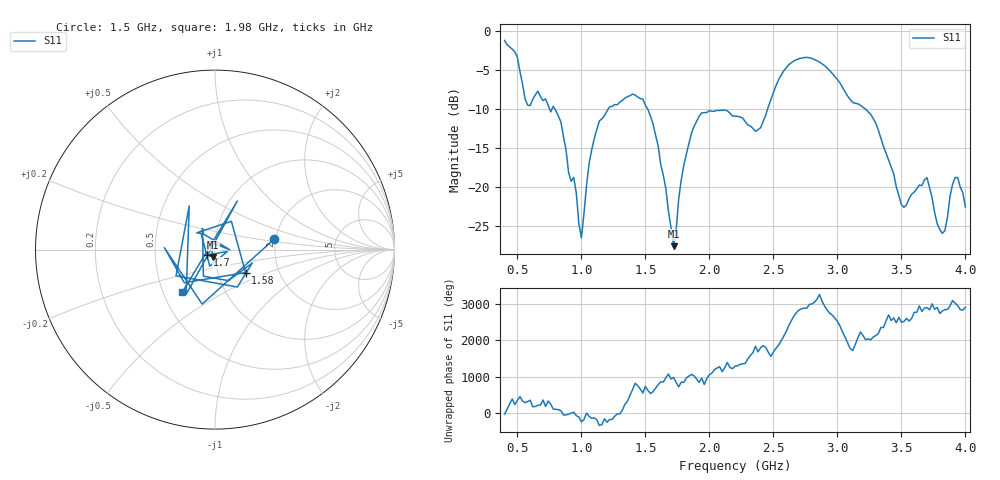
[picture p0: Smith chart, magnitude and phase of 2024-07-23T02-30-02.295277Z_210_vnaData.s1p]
!Created with skrf (http://scikit-rf.org).
# Hz S RI R 50.0
!freq ReS11 ImS11
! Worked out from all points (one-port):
!   181 points, 400 MHz to 4 GHz, reference 50 ohm
!   lowest |S11| = -27.6 dB at 1.72 GHz (marker M1), VSWR 1.09, Z = 48.9 - j3.97 ohm
!   |S11| at or under -10 dB: 791 MHz to 1.212 GHz (420.7 MHz wide, 42 % of centre); 1.516 GHz to 2.456 GHz (940.2 MHz wide, 47.3 % of centre); 3.215 GHz to end of sweep (the widest 3 of 4)
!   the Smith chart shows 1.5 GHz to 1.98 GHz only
!   S11 on the Smith chart (normalised r, x): 1.5 GHz: 1.95, +0.25; 1.58 GHz: 1.35, -0.36; 1.7 GHz: 0.91, -0.06; 1.98 GHz: 0.63, -0.33
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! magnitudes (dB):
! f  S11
! 400 MHz  -1.3
! 500 MHz  -3.4
! 580 MHz  -9.6
! 660 MHz  -7.8
! 860 MHz  -13.6
! 940 MHz  -18.8
! 1 GHz  -26.6
! 1.1 GHz  -13.9
! 1.3 GHz  -9.2
! 1.5 GHz  -9.6
! 1.58 GHz  -13.4
! 1.7 GHz  -25.2
! 1.72 GHz  -27.6
! 1.76 GHz  -21.6
! 1.86 GHz  -13.1
! 1.98 GHz  -10.5
! 2.2 GHz  -11.0
! 2.4 GHz  -12.4
! 2.66 GHz  -3.9
! 2.88 GHz  -4.3
! 3.1 GHz  -8.8
! 3.26 GHz  -10.7
! 3.5 GHz  -22.3
! 3.56 GHz  -21.5
! 3.7 GHz  -18.8
! 3.82 GHz  -26.0
! 3.92 GHz  -18.8
! 4 GHz  -22.6
